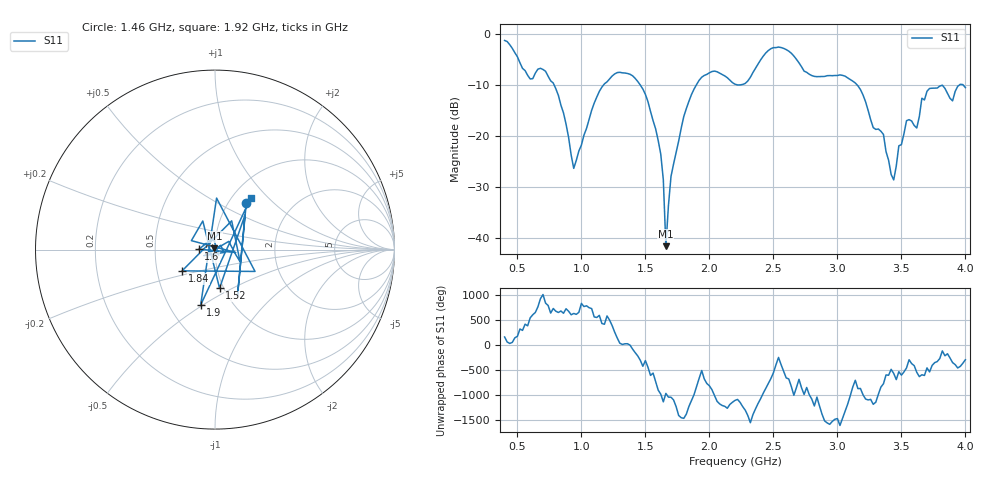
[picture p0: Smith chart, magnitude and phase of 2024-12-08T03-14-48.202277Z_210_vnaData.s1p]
!Created with skrf (http://scikit-rf.org).
# Hz S RI R 50.0
!freq ReS11 ImS11
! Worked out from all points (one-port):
!   181 points, 400 MHz to 4 GHz, reference 50 ohm
!   lowest |S11| = -41.7 dB at 1.66 GHz (marker M1), VSWR 1.02, Z = 49.7 + j0.757 ohm
!   |S11| at or under -10 dB: 786.4 MHz to 1.174 GHz (387.4 MHz wide, 39.5 % of centre); 1.459 GHz to 1.898 GHz (439.2 MHz wide, 26.2 % of centre); 3.153 GHz to 3.955 GHz (801.3 MHz wide, 22.5 % of centre) (the widest 3 of 5)
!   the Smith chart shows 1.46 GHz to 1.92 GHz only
!   S11 on the Smith chart (normalised r, x): 1.46 GHz: 1.20, +0.70; 1.52 GHz: 0.96, -0.43; 1.6 GHz: 0.84, +0.00; 1.84 GHz: 0.67, -0.17; 1.9 GHz: 0.71, -0.49; 1.92 GHz: 1.21, +0.80
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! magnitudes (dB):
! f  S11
! 400 MHz  -1.3
! 600 MHz  -8.8
! 720 MHz  -7.3
! 860 MHz  -15.5
! 940 MHz  -26.4
! 1.14 GHz  -11.3
! 1.3 GHz  -7.5
! 1.46 GHz  -10.0
! 1.52 GHz  -13.3
! 1.6 GHz  -20.9
! 1.64 GHz  -28.6
! 1.66 GHz  -41.7
! 1.7 GHz  -28.0
! 1.76 GHz  -21.0
! 1.84 GHz  -13.2
! 1.9 GHz  -9.9
! 1.92 GHz  -9.1
! 2.2 GHz  -9.9
! 2.48 GHz  -2.9
! 2.66 GHz  -4.3
! 3.1 GHz  -9.0
! 3.36 GHz  -19.7
! 3.44 GHz  -28.7
! 3.48 GHz  -22.0
! 3.56 GHz  -16.8
! 3.62 GHz  -18.5
! 3.72 GHz  -10.7
! 4 GHz  -10.5
